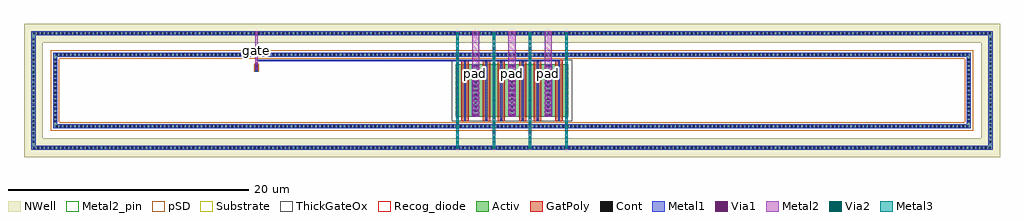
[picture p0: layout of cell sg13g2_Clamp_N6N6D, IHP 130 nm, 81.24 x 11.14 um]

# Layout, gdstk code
import gdstk
lib = gdstk.Library(unit=1e-6, precision=1e-09)
def R(c, l, rs):  # rectangles x0, y0, x1, y1
    for r in rs: c.add(gdstk.rectangle(r[:2], r[2:], *l))
def A(c, l, x, y, w, h, nx, ny, dx, dy):  # array of equal rectangles
    R(c, l, [(x+i*dx, y+j*dy, x+i*dx+w, y+j*dy+h) for i in range(nx) for j in range(ny)])
def P(c, l, *ps):  # polygons
    for p in ps: c.add(gdstk.Polygon(p, *l))
Activ = (1, 0)
GatPoly = (5, 0)
Cont = (6, 0)
Metal1 = (8, 0)
Metal2 = (10, 0)
Metal2_pin = (10, 2)
pSD = (14, 0)
Via1 = (19, 0)
Via2 = (29, 0)
Metal3 = (30, 0)
NWell = (31, 0)
Substrate = (40, 0)
ThickGateOx = (44, 0)
Recog_diode = (99, 31)

sg13g2_guardring_n16000w = lib.new_cell('sg13g2_GuardRing_N16000W1980HFF')
P(sg13g2_guardring_n16000w, Activ, [(-40,-4.95),(-40,4.61),(-39.66,4.61),(-39.66,-4.61),(39.66,-4.61),(39.66,4.61),(-40,4.61),(-40,4.95),(40,4.95),(40,-4.95)])
A(sg13g2_guardring_n16000w, Cont, -39.86, -4.86, 0.16, 0.16, 235, 2, 0.34, 9.56)
A(sg13g2_guardring_n16000w, Cont, -39.91, -4.33, 0.16, 0.16, 1, 26, 0, 0.34)
A(sg13g2_guardring_n16000w, Cont, 39.75, -4.33, 0.16, 0.16, 1, 26, 0, 0.34)
P(sg13g2_guardring_n16000w, Metal1, [(-40,-4.95),(-40,4.61),(-39.66,4.61),(-39.66,-4.61),(39.66,-4.61),(39.66,4.61),(-40,4.61),(-40,4.95),(40,4.95),(40,-4.95)])
P(sg13g2_guardring_n16000w, NWell, [(-40.62,-5.57),(-40.62,3.99),(-39.04,3.99),(-39.04,-3.99),(39.04,-3.99),(39.04,3.99),(-40.62,3.99),(-40.62,5.57),(40.62,5.57),(40.62,-5.57)])

sg13g2_guardring_p15280w = lib.new_cell('sg13g2_GuardRing_P15280W1260HFF')
P(sg13g2_guardring_p15280w, Activ, [(-38.2,-3.15),(-38.2,2.81),(-37.86,2.81),(-37.86,-2.81),(37.86,-2.81),(37.86,2.81),(-38.2,2.81),(-38.2,3.15),(38.2,3.15),(38.2,-3.15)])
A(sg13g2_guardring_p15280w, Cont, -37.99, -3.06, 0.16, 0.16, 224, 2, 0.34, 5.96)
A(sg13g2_guardring_p15280w, Cont, -38.11, -2.63, 0.16, 0.16, 1, 16, 0, 0.34)
A(sg13g2_guardring_p15280w, Cont, 37.95, -2.63, 0.16, 0.16, 1, 16, 0, 0.34)
P(sg13g2_guardring_p15280w, Metal1, [(-38.2,-3.15),(-38.2,2.81),(-37.86,2.81),(-37.86,-2.81),(37.86,-2.81),(37.86,2.81),(-38.2,2.81),(-38.2,3.15),(38.2,3.15),(38.2,-3.15)])
P(sg13g2_guardring_p15280w, pSD, [(-38.38,-3.33),(-38.38,2.63),(-37.68,2.63),(-37.68,-2.63),(37.68,-2.63),(37.68,2.63),(-38.38,2.63),(-38.38,3.33),(38.38,3.33),(38.38,-3.33)])
P(sg13g2_guardring_p15280w, Substrate, [(-38.2,-3.15),(-38.2,2.81),(-37.86,2.81),(-37.86,-2.81),(37.86,-2.81),(37.86,2.81),(-38.2,2.81),(-38.2,3.15),(38.2,3.15),(38.2,-3.15)])
sg13g2_guardring_p15280w.add(gdstk.Label('sub!', (-38.03,-2.98), layer=63, texttype=0))

sg13g2_clamp_n6n6d = lib.new_cell('sg13g2_Clamp_N6N6D')
R(sg13g2_clamp_n6n6d, Activ, [(35.32,2.75,44.68,7.15), (18.58,6.51,18.88,7.15)])
R(sg13g2_clamp_n6n6d, GatPoly, [(35.79,2.38,36.39,7.52), (37.57,2.38,38.17,7.52), (38.81,2.38,39.41,7.52), (40.59,2.38,41.19,7.52), (41.83,2.38,42.43,7.52), (43.61,2.38,44.21,7.52)])
A(sg13g2_clamp_n6n6d, Cont, 35.39, 2.83, 0.16, 0.16, 7, 13, 1.51, 0.34)
R(sg13g2_clamp_n6n6d, Cont, [(36.01,2.45,36.17,2.61), (37.79,2.45,37.95,2.61), (39.03,2.45,39.19,2.61), (40.81,2.45,40.97,2.61), (42.05,2.45,42.21,2.61), (43.83,2.45,43.99,2.61), (18.65,6.58,18.81,6.74), (18.65,6.92,18.81,7.08), (36.01,7.29,36.17,7.45), (37.79,7.29,37.95,7.45), (39.03,7.29,39.19,7.45), (40.81,7.29,40.97,7.45), (42.05,7.29,42.21,7.45), (43.83,7.29,43.99,7.45)])
A(sg13g2_clamp_n6n6d, Metal1, 35.365, 1.8, 0.21, 0.34, 4, 2, 3.02, 5.96)
A(sg13g2_clamp_n6n6d, Metal1, 35.365, 2.75, 0.21, 4.4, 4, 1, 3.02, 0)
A(sg13g2_clamp_n6n6d, Metal1, 36.67, 2.75, 0.62, 4.4, 3, 1, 3.02, 0)
P(sg13g2_clamp_n6n6d, Metal1, [(36.01,2.37),(36.01,7.37),(18.835,7.37),(18.835,6.5),(18.625,6.5),(18.625,7.53),(43.99,7.53),(43.99,2.37),(43.83,2.37),(43.83,7.37),(42.21,7.37),(42.21,2.37),(42.05,2.37),(42.05,7.37),(40.97,7.37),(40.97,2.37),(40.81,2.37),(40.81,7.37),(39.19,7.37),(39.19,2.37),(39.03,2.37),(39.03,7.37),(37.95,7.37),(37.95,2.37),(37.79,2.37),(37.79,7.37),(36.17,7.37),(36.17,2.37)])
A(sg13g2_clamp_n6n6d, Metal2, 35.37, 0, 0.2, 9.9, 4, 1, 3.02, 0)
A(sg13g2_clamp_n6n6d, Metal2, 36.675, 2.755, 0.61, 7.145, 3, 1, 3.02, 0)
R(sg13g2_clamp_n6n6d, Metal2, [(18.63,6.665,18.83,9.9)])
A(sg13g2_clamp_n6n6d, Metal2_pin, 36.675, 2.755, 0.61, 7.145, 3, 1, 3.02, 0)
R(sg13g2_clamp_n6n6d, Metal2_pin, [(18.63,6.665,18.83,9.9)])
A(sg13g2_clamp_n6n6d, Via1, 35.375, 1.875, 0.19, 0.19, 4, 2, 3.02, 5.96)
A(sg13g2_clamp_n6n6d, Via1, 35.375, 2.805, 0.19, 0.19, 1, 11, 0, 0.41)
A(sg13g2_clamp_n6n6d, Via1, 36.68, 2.805, 0.19, 0.19, 1, 11, 0, 0.41)
A(sg13g2_clamp_n6n6d, Via1, 37.09, 2.805, 0.19, 0.19, 3, 11, 1.305, 0.41)
A(sg13g2_clamp_n6n6d, Via1, 40.11, 2.805, 0.19, 0.19, 3, 11, 1.305, 0.41)
A(sg13g2_clamp_n6n6d, Via1, 43.13, 2.805, 0.19, 0.19, 1, 11, 0, 0.41)
A(sg13g2_clamp_n6n6d, Via1, 44.435, 2.805, 0.19, 0.19, 1, 11, 0, 0.41)
R(sg13g2_clamp_n6n6d, Via1, [(18.635,6.715,18.825,6.905), (18.635,7.125,18.825,7.315)])
A(sg13g2_clamp_n6n6d, Via2, 35.375, 0.14, 0.19, 0.19, 4, 24, 3.02, 0.41)
A(sg13g2_clamp_n6n6d, Metal3, 35.37, 0.09, 0.2, 9.72, 4, 1, 3.02, 0)
R(sg13g2_clamp_n6n6d, ThickGateOx, [(34.98,2.41,45.02,7.49)])
R(sg13g2_clamp_n6n6d, Recog_diode, [(18.56,6.49,18.9,7.17)])
sg13g2_clamp_n6n6d.add(gdstk.Reference(sg13g2_guardring_n16000w, (40,4.95)))
sg13g2_clamp_n6n6d.add(gdstk.Reference(sg13g2_guardring_p15280w, (40,4.95)))
sg13g2_clamp_n6n6d.add(gdstk.Label('pad', (36.98,6.328), layer=10, texttype=25))
sg13g2_clamp_n6n6d.add(gdstk.Label('pad', (40,6.328), layer=10, texttype=25))
sg13g2_clamp_n6n6d.add(gdstk.Label('pad', (43.02,6.328), layer=10, texttype=25))
sg13g2_clamp_n6n6d.add(gdstk.Label('gate', (18.73,8.282), layer=10, texttype=25))

lib.write_gds('sg13g2_Clamp_N6N6D.gds')
